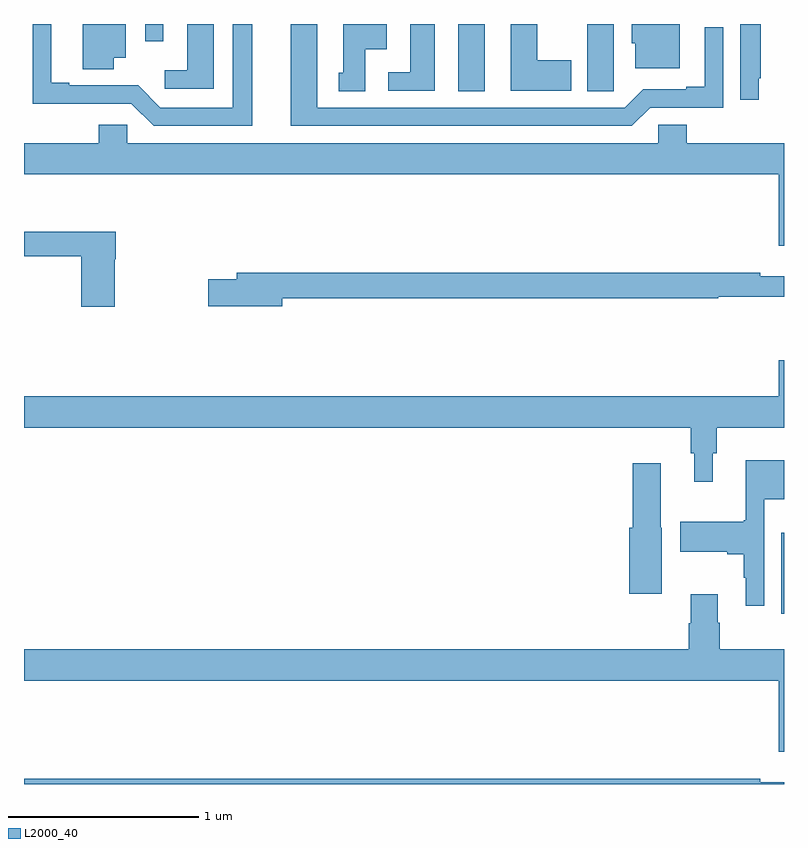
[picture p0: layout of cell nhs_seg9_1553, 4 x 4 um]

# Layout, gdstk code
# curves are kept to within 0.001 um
import gdstk
lib = gdstk.Library(unit=1e-6, precision=1e-09)
def R(c, l, rs):  # rectangles x0, y0, x1, y1
    for r in rs: c.add(gdstk.rectangle(r[:2], r[2:], *l))
def P(c, l, *ps):  # polygons
    for p in ps: c.add(gdstk.Polygon(p, *l))
L2000_40 = (2000, 40)

nhs_seg9_1553 = lib.new_cell('nhs_seg9_1553')
R(nhs_seg9_1553, L2000_40, [(200.985,1239.396,201,1239.823), (199.286,1242.145,199.426,1242.5), (197.637,1242.408,197.733,1242.5)])
P(nhs_seg9_1553, L2000_40, [(199.879,1242.309),(199.702,1242.309),(199.702,1242.5),(199.562,1242.5),(199.562,1242.149),(199.879,1242.149)],
  [(200.103,1242.256),(200.104,1242.256),(200.104,1242.5),(199.964,1242.5),(199.964,1242.145),(200.103,1242.145)],
  [(197.998,1242.5),(197.858,1242.5),(197.858,1242.256),(197.742,1242.256),(197.742,1242.159),(197.998,1242.159)],
  [(197.473,1242.323),(197.536,1242.323),(197.536,1242.5),(197.309,1242.5),(197.309,1242.262),(197.473,1242.262)],
  [(198.202,1242.5),(198.098,1242.5),(198.098,1242.06),(197.718,1242.06),(197.6,1242.178),(197.239,1242.177),(197.239,1242.19),(197.143,1242.19),(197.143,1242.5),(197.046,1242.5),(197.046,1242.08),(197.565,1242.081),(197.682,1241.964),(198.202,1241.964)],
  [(199.162,1242.5),(199.034,1242.5),(199.034,1242.246),(198.918,1242.246),(198.918,1242.15),(199.162,1242.15)],
  [(200.295,1242.06),(200.679,1242.06),(200.679,1242.484),(200.582,1242.484),(200.582,1242.169),(200.486,1242.169),(200.486,1242.156),(200.259,1242.156),(200.163,1242.06),(198.544,1242.06),(198.544,1242.5),(198.404,1242.5),(198.404,1241.964),(200.199,1241.964)],
  [(200.866,1242.214),(200.878,1242.214),(200.878,1242.5),(200.769,1242.5),(200.769,1242.102),(200.866,1242.102)],
  [(198.796,1242.368),(198.91,1242.368),(198.91,1242.5),(198.68,1242.5),(198.68,1242.243),(198.656,1242.243),(198.656,1242.145),(198.796,1242.145)],
  [(200.452,1242.5),(200.198,1242.5),(200.198,1242.399),(200.216,1242.399),(200.216,1242.266),(200.452,1242.266)],
  [(201,1241.872),(200.489,1241.872),(200.489,1241.97),(200.337,1241.97),(200.337,1241.872),(197.544,1241.872),(197.544,1241.97),(197.393,1241.97),(197.393,1241.872),(197,1241.872),(197,1241.708),(200.972,1241.708),(200.972,1241.334),(201,1241.334)],
  [(197.478,1241.261),(197.483,1241.261),(197.483,1241.407),(197,1241.407),(197,1241.278),(197.3,1241.278),(197.3,1241.013),(197.478,1241.013)],
  [(198.358,1241.056),(200.655,1241.056),(200.655,1241.064),(201,1241.064),(201,1241.173),(200.876,1241.173),(200.876,1241.192),(198.119,1241.192),(198.119,1241.156),(197.97,1241.156),(197.97,1241.014),(198.358,1241.014)],
  [(200.626,1240.242),(200.645,1240.242),(200.645,1240.376),(201,1240.376),(201,1240.729),(200.972,1240.729),(200.972,1240.54),(197,1240.54),(197,1240.376),(200.509,1240.376),(200.509,1240.242),(200.528,1240.242),(200.528,1240.092),(200.626,1240.092)],
  [(200.895,1239.998),(201,1239.998),(201,1240.204),(200.798,1240.204),(200.798,1239.888),(200.787,1239.888),(200.787,1239.88),(200.454,1239.88),(200.454,1239.722),(200.702,1239.722),(200.702,1239.71),(200.787,1239.71),(200.787,1239.586),(200.798,1239.586),(200.798,1239.438),(200.895,1239.438)],
  [(200.356,1239.849),(200.35,1239.849),(200.35,1240.189),(200.204,1240.189),(200.204,1239.849),(200.186,1239.849),(200.186,1239.501),(200.356,1239.501)],
  [(201,1239.208),(200.663,1239.208),(200.663,1239.35),(200.65,1239.35),(200.65,1239.499),(200.51,1239.499),(200.51,1239.345),(200.498,1239.345),(200.498,1239.208),(197,1239.208),(197,1239.044),(200.972,1239.044),(200.972,1238.67),(201,1238.67)],
  [(201,1238.509),(200.876,1238.509),(200.876,1238.528),(197,1238.528),(197,1238.5),(201,1238.5)])

lib.write_gds('nhs_seg9_1553.gds')
